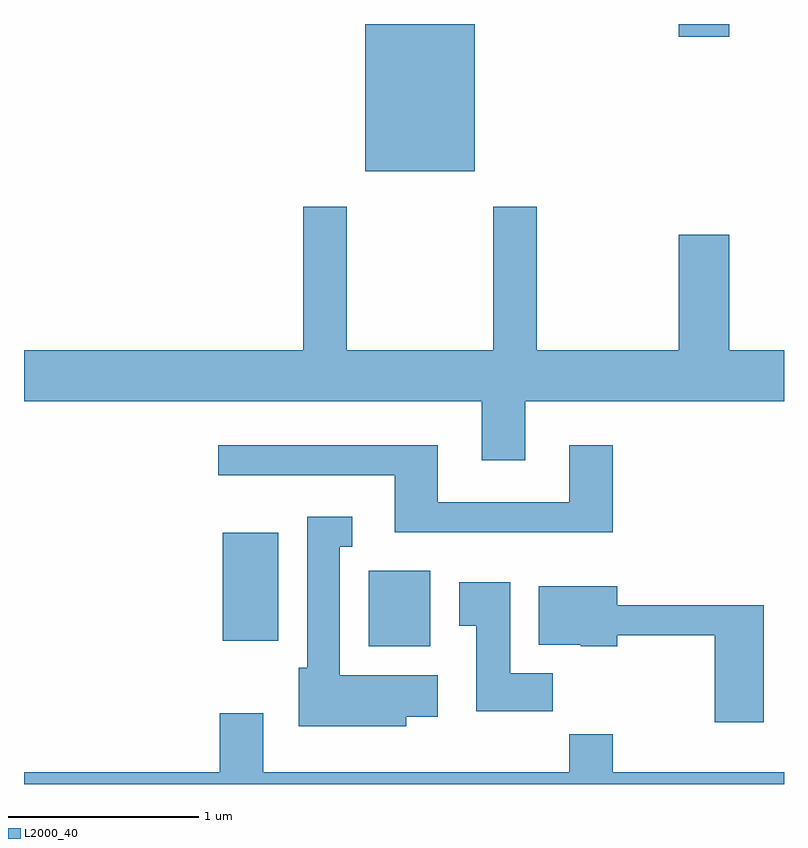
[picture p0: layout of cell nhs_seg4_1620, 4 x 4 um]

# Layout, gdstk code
import gdstk
lib = gdstk.Library(unit=1e-6, precision=1e-09)
def R(c, l, rs):  # rectangles x0, y0, x1, y1
    for r in rs: c.add(gdstk.rectangle(r[:2], r[2:], *l))
def P(c, l, *ps):  # polygons
    for p in ps: c.add(gdstk.Polygon(p, *l))
L2000_40 = (2000, 40)

nhs_seg4_1620 = lib.new_cell('nhs_seg4_1620')
R(nhs_seg4_1620, L2000_40, [(233.426,1366.706,233.749,1367.104), (232.656,1366.736,232.949,1367.304), (233.406,1369.206,233.984,1369.982), (235.056,1369.916,235.324,1369.982)])
P(nhs_seg4_1620, L2000_40, [(234.249,1367.996),(235.611,1367.996),(235.611,1368.264),(235.324,1368.264),(235.324,1368.874),(235.056,1368.874),(235.056,1368.264),(234.309,1368.264),(234.309,1369.019),(234.081,1369.019),(234.081,1368.264),(233.309,1368.264),(233.309,1369.019),(233.081,1369.019),(233.081,1368.264),(231.611,1368.264),(231.611,1367.996),(234.021,1367.996),(234.021,1367.686),(234.249,1367.686)],
  [(234.709,1367.764),(234.481,1367.764),(234.481,1367.464),(233.789,1367.464),(233.789,1367.764),(232.633,1367.764),(232.633,1367.606),(233.561,1367.606),(233.561,1367.306),(234.709,1367.306)],
  [(233.624,1366.336),(233.789,1366.336),(233.789,1366.554),(233.274,1366.554),(233.274,1367.231),(233.338,1367.231),(233.338,1367.389),(233.101,1367.389),(233.101,1366.594),(233.056,1366.594),(233.056,1366.286),(233.624,1366.286)],
  [(234.394,1366.564),(234.169,1366.564),(234.169,1367.044),(233.901,1367.044),(233.901,1366.816),(233.991,1366.816),(233.991,1366.366),(234.394,1366.366)],
  [(235.504,1366.924),(234.734,1366.924),(234.734,1367.024),(234.321,1367.024),(234.321,1366.716),(234.54,1366.716),(234.54,1366.706),(234.734,1366.706),(234.734,1366.766),(235.246,1366.766),(235.246,1366.306),(235.504,1366.306)],
  [(235.611,1366.044),(234.709,1366.044),(234.709,1366.244),(234.481,1366.244),(234.481,1366.044),(232.869,1366.044),(232.869,1366.354),(232.641,1366.354),(232.641,1366.044),(231.611,1366.044),(231.611,1365.982),(235.611,1365.982)])

lib.write_gds('nhs_seg4_1620.gds')
